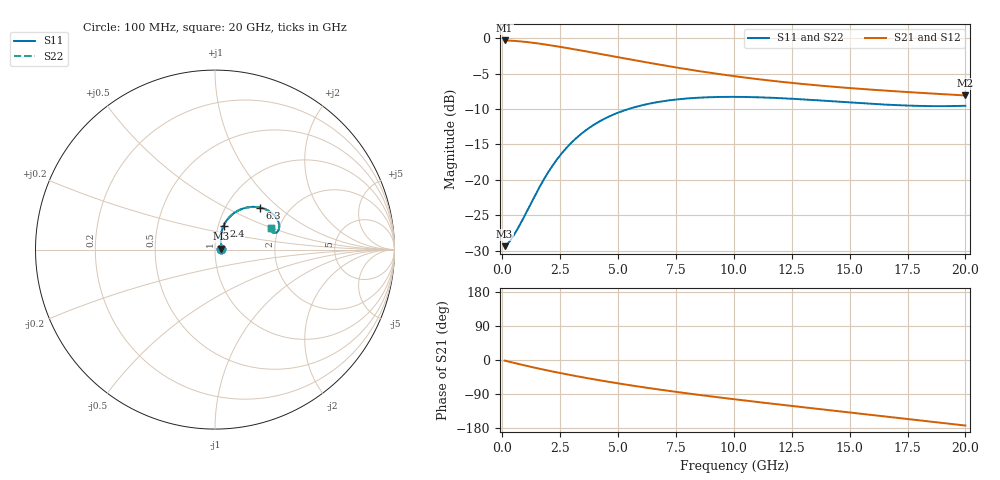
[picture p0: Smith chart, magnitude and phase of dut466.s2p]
! Touchstone file exported from HFSS 2024.1.0
!  File:  C:/UserFiles/LocalFiles/RDL_TSV_Batchsim/temp_RDL_TSV_466_1779728831.aedt
!  Generated:  01:21:06 AM May 26, 2026
!  Design:  RDL_TSV
!  Project:  temp_RDL_TSV_466_1779728831
!  Setup:  Setup1
!  Solution:  Sweep
! Variables:
!  dtsv = 12.36um
!  hbump = 3um
!  htsv = 52.81um
!  ldown = 442.28um
!  lrdl = 268.37um
!  p = 40
!  p1 = 42.35um
!  rhole = 10um
!  subl = 2400.32um
!  t = 450um
!  tdown = 2.21um
!  trdl = 2.27um
!  viad = 10um
!  wdown = 10.74um
!  wrdl = 10.96um
!  xbump = 18um
# GHz S MA R 50.000000
! Terminal data exported
! Port[1] = TM1_1_T1
! Port[2] = TM1_4_T1
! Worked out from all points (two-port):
!   200 points, 100 MHz to 20 GHz, reference 50 ohm
!   highest |S21| = -0.30 dB at 100 MHz (marker M1); lowest = -8.1 dB at 20 GHz (marker M2)
!   |S21| within 3 dB of the highest: start of sweep to 6.066 GHz
!   lowest |S11| = -29.4 dB at 100 MHz (marker M3), VSWR 1.07, Z = 53.5 + j0.493 ohm
!   |S11| at or under -10 dB: start of sweep to 5.442 GHz
!   |S22| runs from -29.4 to -8.3 dB; largest |S21 - S12| = 1.2e-14
!   S11 on the Smith chart (normalised r, x): 100 MHz: 1.07, +0.01; 2.4 GHz: 1.06, +0.29; 6.3 GHz: 1.44, +0.76; 20 GHz: 1.82, +0.49
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0.1  0.03397 7.8  0.9661 -1.5  0.9661 -1.5  0.03398 7.8
! Gamma 0 0 0 0
! Port Impedance 50 0 50 0
0.3  0.03642 22.2  0.9638 -4.6  0.9638 -4.6  0.03642 22.1
0.5  0.04066 34.1  0.9598 -7.6  0.9598 -7.6  0.04066 34.1
0.9  0.0532 51.9  0.9476 -13.4  0.9476 -13.4  0.0532 51.9
1.3  0.07136 63.1  0.9314 -19.0  0.9314 -19.0  0.07134 63.0
1.9  0.1076 70.0  0.9023 -26.9  0.9023 -26.9  0.1075 69.9
2.4  0.1421 70.2  0.8758 -33.2  0.8758 -33.2  0.1419 70.2
2.9  0.1771 68.0  0.8484 -39.2  0.8484 -39.2  0.177 68.0
3.5  0.2172 63.9  0.8154 -46.0  0.8154 -46.0  0.217 63.9
4.1  0.2533 59.3  0.7828 -52.5  0.7828 -52.5  0.253 59.2
4.8  0.2892 53.7  0.7459 -59.7  0.7459 -59.7  0.2888 53.7
5.5  0.3184 48.4  0.7108 -66.5  0.7108 -66.5  0.318 48.4
6.3  0.3441 42.9  0.6732 -73.8  0.6732 -73.8  0.3436 42.8
6.8  0.3564 39.7  0.6514 -78.2  0.6514 -78.2  0.3559 39.6
8.4  0.38 31.0  0.5899 -91.3  0.5899 -91.3  0.3793 30.9
10.1  0.3857 24.0  0.5381 -104.2  0.5381 -104.2  0.385 24.0
11.7  0.3797 19.5  0.5 -115.6  0.5 -115.6  0.3789 19.4
13.4  0.3667 16.5  0.4686 -127.4  0.4686 -127.4  0.3658 16.4
15  0.3523 15.5  0.4453 -138.4  0.4453 -138.4  0.3514 15.4
16.7  0.3391 16.3  0.4253 -150.1  0.4253 -150.1  0.3381 16.2
18.4  0.3321 18.5  0.4087 -161.8  0.4087 -161.8  0.3311 18.4
20  0.3337 21.3  0.3949 -172.9  0.3949 -172.9  0.3327 21.2
